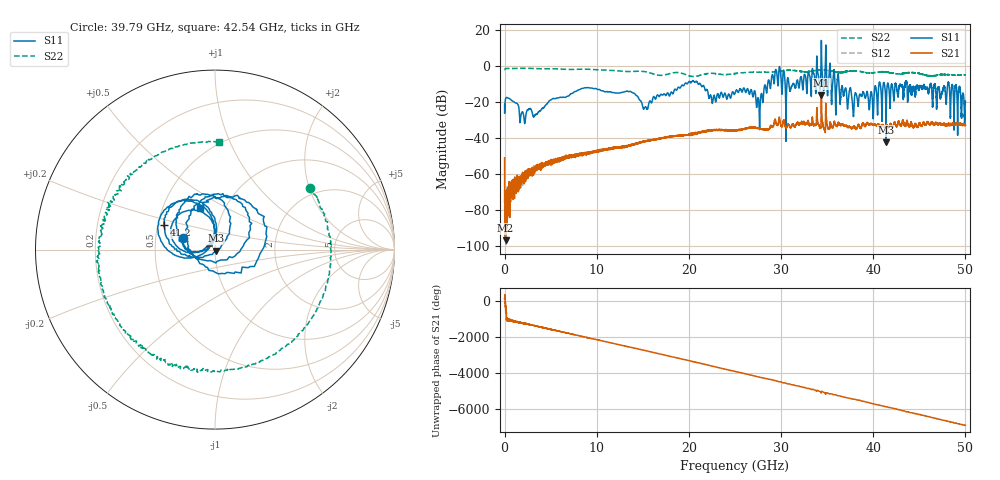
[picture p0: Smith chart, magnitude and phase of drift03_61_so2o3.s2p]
!Created with skrf (http://scikit-rf.org).
# Hz S RI R 50.0
!freq ReS11 ImS11 ReS21 ImS21 ReS12 ImS12 ReS22 ImS22
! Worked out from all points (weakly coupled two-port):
!   10001 points, 300 kHz to 50 GHz, reference 50 ohm
!   highest |S21| = -16.32 dB at 34.37 GHz (marker M1); lowest = -96.8 dB at 105.3 MHz (marker M2)
!   lowest |S11| = -42.3 dB at 41.4 GHz (marker M3), VSWR 1.02, Z = 50.5 - j0.553 ohm
!   |S11| at or under -10 dB: start of sweep to 19.55 GHz; 21.25 GHz to 28.55 GHz (7.298 GHz wide, 29.3 % of centre); 36.28 GHz to 40.62 GHz (4.337 GHz wide, 11.3 % of centre) (the widest 3 of 39)
!   |S22| runs from -5.9 to -1.3 dB; largest |S21 - S12| = 0.027
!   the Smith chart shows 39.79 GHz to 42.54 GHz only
!   S11 on the Smith chart (normalised r, x): 39.79 GHz: 0.69, +0.09; 41.2 GHz: 0.54, +0.16; 42.54 GHz: 0.77, +0.38
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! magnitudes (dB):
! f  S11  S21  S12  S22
! 300 kHz  -21.4  -51.0  -64.0  -2.0
! 105.3 MHz  -18.2  -96.8  -91.8  -1.5
! 275.3 MHz  -17.6  -69.0  -70.4  -1.4
! 3.3 GHz  -27.3  -57.5  -57.0  -1.5
! 8.335 GHz  -12.6  -48.4  -49.2  -1.9
! 13.76 GHz  -14.5  -43.8  -44.0  -3.1
! 15.29 GHz  -22.8  -41.8  -41.8  -3.3
! 16.67 GHz  -16.5  -40.5  -40.5  -5.2
! 20.26 GHz  -9.1  -38.0  -38.1  -5.8
! 22.71 GHz  -16.5  -35.7  -35.6  -4.2
! 25 GHz  -15.3  -35.7  -35.9  -4.3
! 27.52 GHz  -17.8  -34.6  -34.6  -3.5
! 29.28 GHz  -8.6  -31.2  -30.6  -3.3
! 30.73 GHz  -6.6  -32.5  -32.8  -2.5
! 33.34 GHz  -7.5  -31.2  -31.2  -2.9
! 34.37 GHz  14.1  -16.3  -17.5  -2.2
! 39.79 GHz  -14.4  -32.2  -32.0  -4.0
! 41.2 GHz  -10.1  -34.0  -33.9  -3.3
! 41.4 GHz  -42.3  -32.6  -32.8  -3.4
! 41.67 GHz  -11.4  -34.1  -34.1  -3.7
! 42.54 GHz  -12.1  -33.7  -33.6  -4.4
! 50 GHz  -20.1  -32.9  -32.8  -5.0
